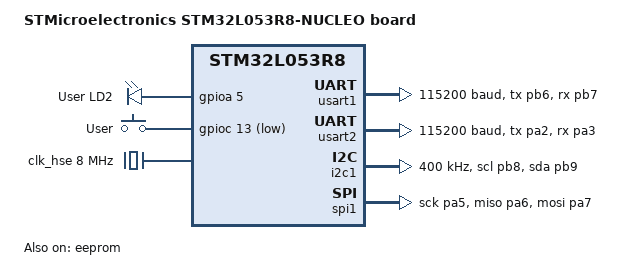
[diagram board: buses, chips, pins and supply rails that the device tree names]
/*
 * Copyright (c) 2018 Anthony Kreft <anthony.kreft@gmail.com>
 *
 * SPDX-License-Identifier: Apache-2.0
 */

/dts-v1/;
#include <st/l0/stm32l053X8.dtsi>
#include <st/l0/stm32l053r(6-8)tx-pinctrl.dtsi>
#include "arduino_r3_connector.dtsi"
#include "st_morpho_connector.dtsi"
#include <zephyr/dt-bindings/input/input-event-codes.h>

/ {
	model = "STMicroelectronics STM32L053R8-NUCLEO board";
	compatible = "st,stm32l053r8-nucleo";

	chosen {
		zephyr,console = &usart2;
		zephyr,shell-uart = &usart2;
		zephyr,sram = &sram0;
		zephyr,flash = &flash0;
	};

	leds: leds {
		compatible = "gpio-leds";
		green_led_2: led_2 {
			gpios = <&gpioa 5 GPIO_ACTIVE_HIGH>;
			label = "User LD2";
		};
	};

	gpio_keys {
		compatible = "gpio-keys";
		user_button: button {
			label = "User";
			gpios = <&gpioc 13 GPIO_ACTIVE_LOW>;
			zephyr,code = <INPUT_KEY_0>;
		};
	};

	aliases {
		led0 = &green_led_2;
		sw0 = &user_button;
		eeprom-0 = &eeprom;
	};
};

&clk_hse {
	hse-bypass;
	clock-frequency = <DT_FREQ_M(8)>; /* STLink 8MHz clock */
	status = "okay";
};

&pll {
	clocks = <&clk_hse>;
	mul = <8>;
	div = <2>;
	status = "okay";
};

&rcc {
	clocks = <&pll>;
	clock-frequency = <DT_FREQ_M(32)>;
	ahb-prescaler = <1>;
	apb1-prescaler = <1>;
	apb2-prescaler = <1>;
};

/* Due to limited available memory, don't enable gpiod and gpiof */
/* (Test cases fail due to 'SRAM' region overflow) */
&gpiod {status = "disabled";};
&gpioh {status = "disabled";};

&usart1 {
	pinctrl-0 = <&usart1_tx_pb6 &usart1_rx_pb7>;
	pinctrl-names = "default";
	current-speed = <115200>;
};

&usart2 {
	pinctrl-0 = <&usart2_tx_pa2 &usart2_rx_pa3>;
	pinctrl-names = "default";
	current-speed = <115200>;
	status = "okay";
};

&i2c1 {
	pinctrl-0 = <&i2c1_scl_pb8 &i2c1_sda_pb9>;
	pinctrl-names = "default";
	status = "okay";
	clock-frequency = <I2C_BITRATE_FAST>;
};

&spi1 {
	pinctrl-0 = <&spi1_sck_pa5 &spi1_miso_pa6 &spi1_mosi_pa7>;
	pinctrl-names = "default";
	status = "okay";
};

&eeprom {
	status = "okay";
};
